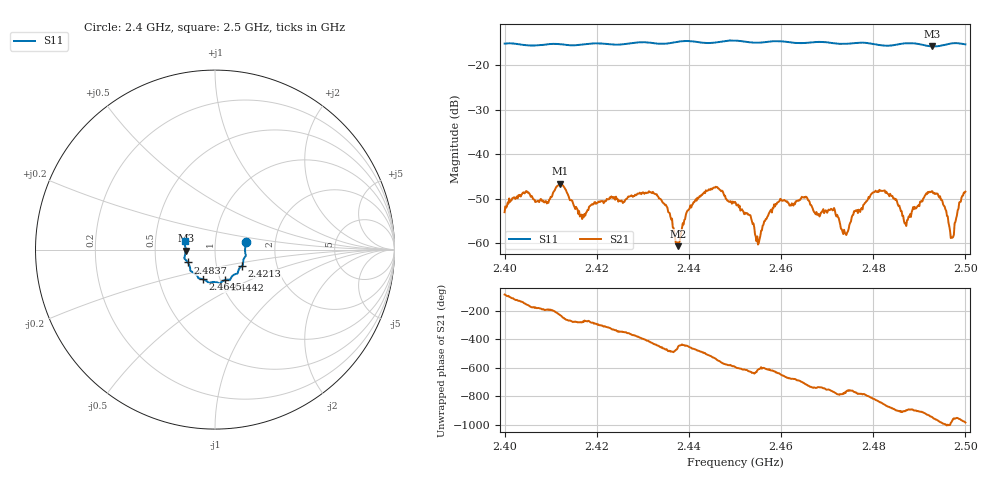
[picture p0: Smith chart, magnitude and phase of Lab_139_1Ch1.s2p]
# Hz S RI R 50
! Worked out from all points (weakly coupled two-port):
!   601 points, 2.4 GHz to 2.5 GHz, reference 50 ohm
!   highest |S21| = -46.58 dB at 2.412 GHz (marker M1); lowest = -60.6 dB at 2.4377 GHz (marker M2)
!   lowest |S11| = -15.7 dB at 2.4928 GHz (marker M3), VSWR 1.39, Z = 36 - j0.377 ohm
!   |S11| at or under -10 dB: start of sweep to end of sweep
!   S12 and S22 are empty: the file has one direction only
!   S11 on the Smith chart (normalised r, x): 2.4 GHz: 1.41, +0.12; 2.4213 GHz: 1.33, -0.25; 2.4442 GHz: 1.05, -0.37; 2.4645 GHz: 0.83, -0.29; 2.4837 GHz: 0.73, -0.11; 2.5 GHz: 0.71, +0.07
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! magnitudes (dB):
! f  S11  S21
! 2.4 GHz  -15.1  -53.0
! 2.412 GHz  -15.2  -46.6
! 2.4167 GHz  -15.3  -53.5
! 2.4213 GHz  -15.1  -50.5
! 2.4333 GHz  -15.1  -49.5
! 2.4377 GHz  -14.7  -60.6
! 2.4398 GHz  -14.5  -52.5
! 2.4442 GHz  -15.0  -48.1
! 2.45 GHz  -14.4  -50.7
! 2.455 GHz  -14.9  -60.3
! 2.4593 GHz  -14.5  -50.8
! 2.4645 GHz  -15.0  -49.5
! 2.4667 GHz  -14.8  -51.7
! 2.4712 GHz  -15.0  -52.6
! 2.474 GHz  -15.1  -57.9
! 2.48 GHz  -15.2  -48.5
! 2.4833 GHz  -15.6  -49.0
! 2.4837 GHz  -15.5  -48.8
! 2.4872 GHz  -15.0  -56.1
! 2.4928 GHz  -15.7  -48.3
! 2.497 GHz  -15.0  -58.7
! 2.5 GHz  -15.3  -48.4
